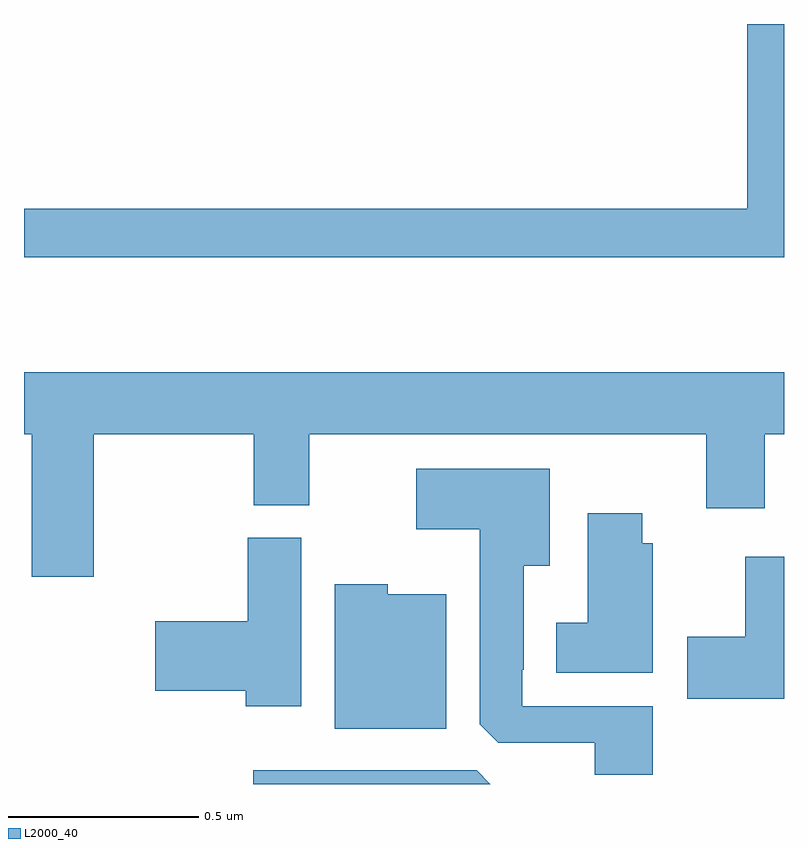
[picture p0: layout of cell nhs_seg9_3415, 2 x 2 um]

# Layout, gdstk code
import gdstk
lib = gdstk.Library(unit=1e-6, precision=1e-09)
def P(c, l, *ps):  # polygons
    for p in ps: c.add(gdstk.Polygon(p, *l))
L2000_40 = (2000, 40)

nhs_seg9_3415 = lib.new_cell('nhs_seg9_3415')
P(nhs_seg9_3415, L2000_40, [(155,1197.5),(154.903,1197.5),(154.903,1197.014),(153,1197.014),(153,1196.886),(155,1196.886)],
  [(153,1196.42),(153.02,1196.42),(153.02,1196.046),(153.184,1196.046),(153.184,1196.42),(153.604,1196.42),(153.604,1196.233),(153.751,1196.233),(153.751,1196.42),(154.796,1196.42),(154.796,1196.226),(154.949,1196.226),(154.949,1196.42),(155,1196.42),(155,1196.584),(153,1196.584)],
  [(154.655,1195.704),(154.311,1195.704),(154.311,1195.801),(154.315,1195.801),(154.315,1196.075),(154.384,1196.075),(154.384,1196.329),(154.032,1196.329),(154.032,1196.171),(154.199,1196.171),(154.199,1195.657),(154.248,1195.608),(154.502,1195.608),(154.502,1195.525),(154.655,1195.525)],
  [(154.654,1196.133),(154.627,1196.133),(154.627,1196.212),(154.484,1196.212),(154.484,1195.924),(154.4,1195.924),(154.4,1195.793),(154.654,1195.793)],
  [(153.73,1196.148),(153.589,1196.148),(153.589,1195.928),(153.345,1195.928),(153.345,1195.745),(153.584,1195.745),(153.584,1195.704),(153.73,1195.704)],
  [(155,1196.098),(154.898,1196.098),(154.898,1195.887),(154.746,1195.887),(154.746,1195.724),(155,1195.724)],
  [(154.111,1195.999),(153.957,1195.999),(153.957,1196.026),(153.818,1196.026),(153.818,1195.646),(154.111,1195.646)],
  [(154.191,1195.536),(153.603,1195.536),(153.603,1195.5),(154.227,1195.5)])

lib.write_gds('nhs_seg9_3415.gds')
